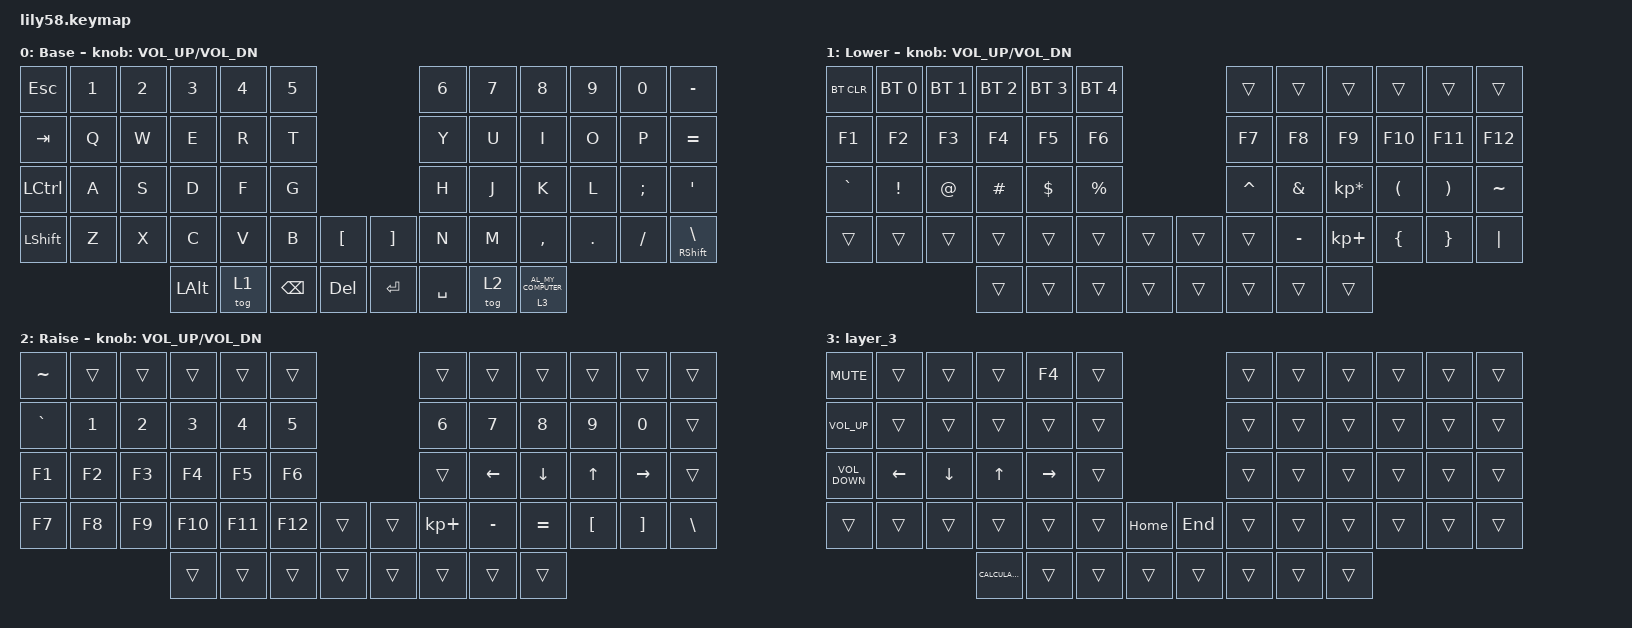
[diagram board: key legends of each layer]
/*
 * Copyright (c) 2020 The ZMK Contributors
 *
 * SPDX-License-Identifier: MIT
 */

#include <behaviors.dtsi>
#include <dt-bindings/zmk/bt.h>
#include <dt-bindings/zmk/keys.h>

/ {
    keymap {
        compatible = "zmk,keymap";

        default_layer {
            // ------------------------------------------------------------------------------------------------------------
            // |  ESC  |  1  |  2  |  3   |  4   |  5   |                   |  6   |  7    |  8    |  9   |   0   |   `   |
            // |  TAB  |  Q  |  W  |  E   |  R   |  T   |                   |  Y   |  U    |  I    |  O   |   P   |   -   |
            // |  CTRL |  A  |  S  |  D   |  F   |  G   |                   |  H   |  J    |  K    |  L   |   ;   |   '   |
            // | SHIFT |  Z  |  X  |  C   |  V   |  B   |   "["  |  |  "]"  |  N   |  M    |  ,    |  .   |   /   | SHIFT |
            //                     | ALT  | GUI  | LOWER|  SPACE |  | ENTER | RAISE| BSPC  | GUI   |

            display-name = "Base";
            bindings = <
&kp ESC    &kp N1  &kp N2  &kp N3    &kp N4  &kp N5                               &kp N6     &kp N7  &kp N8                  &kp N9   &kp N0    &kp MINUS
&kp TAB    &kp Q   &kp W   &kp E     &kp R   &kp T                                &kp Y      &kp U   &kp I                   &kp O    &kp P     &kp EQUAL
&kp LCTRL  &kp A   &kp S   &kp D     &kp F   &kp G                                &kp H      &kp J   &kp K                   &kp L    &kp SEMI  &kp SQT
&kp LSHFT  &kp Z   &kp X   &kp C     &kp V   &kp B          &kp LBKT    &kp RBKT  &kp N      &kp M   &kp COMMA               &kp DOT  &kp FSLH  &mt RSHFT BACKSLASH
                           &kp LALT  &tog 1  &kp BACKSPACE  &kp DEL     &kp RET   &kp SPACE  &tog 2  &lt 3 C_AL_MY_COMPUTER
            >;

            sensor-bindings = <&inc_dec_kp C_VOL_UP C_VOL_DN>;
        };

        lower_layer {
            // ------------------------------------------------------------------------------------------------------------
            // | BTCLR | BT1 | BT2 |  BT3 |  BT4 |  BT5 |                   |      |       |       |      |       |       |
            // |  F1   |  F2 |  F3 |  F4  |  F5  |  F6  |                   |  F7  |  F8   |  F9   |  F10 |  F11  |  F12  |
            // |   `   |  !  |  @  |  #   |  $   |  %   |                   |  ^   |  &    |  *    |  (   |   )   |   ~   |
            // |       |     |     |      |      |      |        |  |       |      |  _    |  +    |  {   |   }   |  "|"  |
            //                     |      |      |      |        |  |       |      |       |       |

            display-name = "Lower";
            bindings = <
&bt BT_CLR  &bt BT_SEL 0  &bt BT_SEL 1  &bt BT_SEL 2  &bt BT_SEL 3  &bt BT_SEL 4                    &trans     &trans     &trans           &trans    &trans    &trans
&kp F1      &kp F2        &kp F3        &kp F4        &kp F5        &kp F6                          &kp F7     &kp F8     &kp F9           &kp F10   &kp F11   &kp F12
&kp GRAVE   &kp EXCL      &kp AT        &kp HASH      &kp DOLLAR    &kp PRCNT                       &kp CARET  &kp AMPS   &kp KP_MULTIPLY  &kp LPAR  &kp RPAR  &kp TILDE
&trans      &trans        &trans        &trans        &trans        &trans        &trans    &trans  &trans     &kp MINUS  &kp KP_PLUS      &kp LBRC  &kp RBRC  &kp PIPE
                                        &trans        &trans        &trans        &trans    &trans  &trans     &trans     &trans
            >;

            sensor-bindings = <&inc_dec_kp C_VOL_UP C_VOL_DN>;
        };

        raise_layer {
            // ------------------------------------------------------------------------------------------------------------
            // |       |     |     |      |      |      |                   |      |       |       |      |       |       |
            // |   `   |  1  |  2  |  3   |  4   |  5   |                   |  6   |   7   |   8   |  9   |   0   |       |
            // |   F1  |  F2 |  F3 |  F4  |  F5  |  F6  |                   |      |   <-  |   v   |  ^   |  ->   |       |
            // |   F7  |  F8 |  F9 |  F10 |  F11 |  F12 |        |  |       |  +   |   -   |   =   |  [   |   ]   |   \   |
            //                     |      |      |      |        |  |       |      |       |       |

            display-name = "Raise";
            bindings = <
&kp TILDE  &trans  &trans  &trans   &trans   &trans                     &trans       &trans     &trans     &trans    &trans     &trans
&kp GRAVE  &kp N1  &kp N2  &kp N3   &kp N4   &kp N5                     &kp N6       &kp N7     &kp N8     &kp N9    &kp N0     &trans
&kp F1     &kp F2  &kp F3  &kp F4   &kp F5   &kp F6                     &trans       &kp LEFT   &kp DOWN   &kp UP    &kp RIGHT  &trans
&kp F7     &kp F8  &kp F9  &kp F10  &kp F11  &kp F12  &trans    &trans  &kp KP_PLUS  &kp MINUS  &kp EQUAL  &kp LBKT  &kp RBKT   &kp BSLH
                           &trans   &trans   &trans   &trans    &trans  &trans       &trans     &trans
            >;

            sensor-bindings = <&inc_dec_kp C_VOL_UP C_VOL_DN>;
        };

        layer_3 {
            bindings = <
&kp C_MUTE         &trans          &trans          &trans            &kp F4     &trans                       &trans  &trans  &trans  &trans  &trans  &trans
&kp C_VOLUME_UP    &trans          &trans          &trans            &trans     &trans                       &trans  &trans  &trans  &trans  &trans  &trans
&kp C_VOLUME_DOWN  &kp LEFT_ARROW  &kp DOWN_ARROW  &kp UP_ARROW      &kp RIGHT  &trans                       &trans  &trans  &trans  &trans  &trans  &trans
&trans             &trans          &trans          &trans            &trans     &trans  &kp HOME    &kp END  &trans  &trans  &trans  &trans  &trans  &trans
                                                   &kp K_CALCULATOR  &trans     &trans  &trans      &trans   &trans  &trans  &trans
            >;
        };
    };
};
